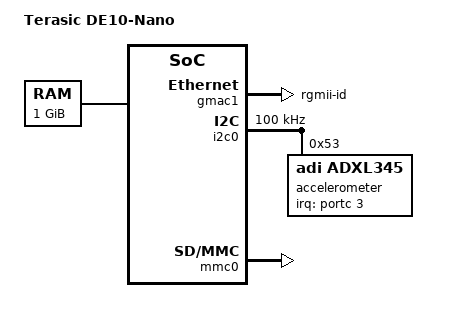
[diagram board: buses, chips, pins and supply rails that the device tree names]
// SPDX-License-Identifier: GPL-2.0+
/*
 * Copyright (C) 2017, Intel Corporation
 *
 * based on socfpga_cyclone5_de0_nano_soc.dts
 */
/dts-v1/;

#include "socfpga_cyclone5.dtsi"
#include <dt-bindings/interrupt-controller/irq.h>
#include <dt-bindings/gpio/gpio.h>

/ {
	model = "Terasic DE10-Nano";
	compatible = "terasic,de10-nano", "altr,socfpga-cyclone5", "altr,socfpga";

	chosen {
		stdout-path = "serial0:115200n8";
	};

	memory@0 {
		/* 1 GiB */
		device_type = "memory";
		reg = <0x0 0x40000000>;
	};

	soc {
		fpga: bus@ff200000 {
			compatible = "simple-bus";
			reg = <0xff200000 0x00200000>;
			ranges = <0x00000000 0xff200000 0x00200000>;
			#address-cells = <1>;
			#size-cells = <1>;

			/*
			 * Here the devices will appear if an FPGA image is
			 * loaded. Their description is expected to be added
			 * using a device tree overlay that matches the image.
			 */
		};
	};
};

&gmac1 {
	/* Uses a KSZ9031RNX phy */
	phy-mode = "rgmii-id";
	rxd0-skew-ps = <420>;
	rxd1-skew-ps = <420>;
	rxd2-skew-ps = <420>;
	rxd3-skew-ps = <420>;
	txen-skew-ps = <0>;
	rxdv-skew-ps = <420>;
	status = "okay";
};

&gpio0 {
	status = "okay";
};

&gpio1 {
	status = "okay";
};

&gpio2 {
	status = "okay";
};

&i2c0 {
	clock-frequency = <100000>;
	status = "okay";

	accelerometer@53 {
		compatible = "adi,adxl345";
		reg = <0x53>;
		/* HPS_GSENSOR_INT is routed to UART0_RX/CAN0_RX/SPIM0_SS1/HPS_GPIO61 */
		interrupt-parent = <&portc>;
		interrupts = <3 IRQ_TYPE_LEVEL_HIGH>;
		interrupt-names = "INT1";
	};
};

&mmc0 {
	/* micro SD card socket J11 */
	status = "okay";
};

&uart0 {
	/*
	 * Accessible via USB (FT232R) on Mini-USB plug J4
	 * RX = TRACE_D0/SPIS0_CLK/UART0_RX/HPS_GPIO49
	 * TX = TRACE_D1/SPIS0_MOSI/UART0_TX/HPS_GPIO50
	 * no handshaking lines
	 */
	clock-frequency = <100000000>;
};
